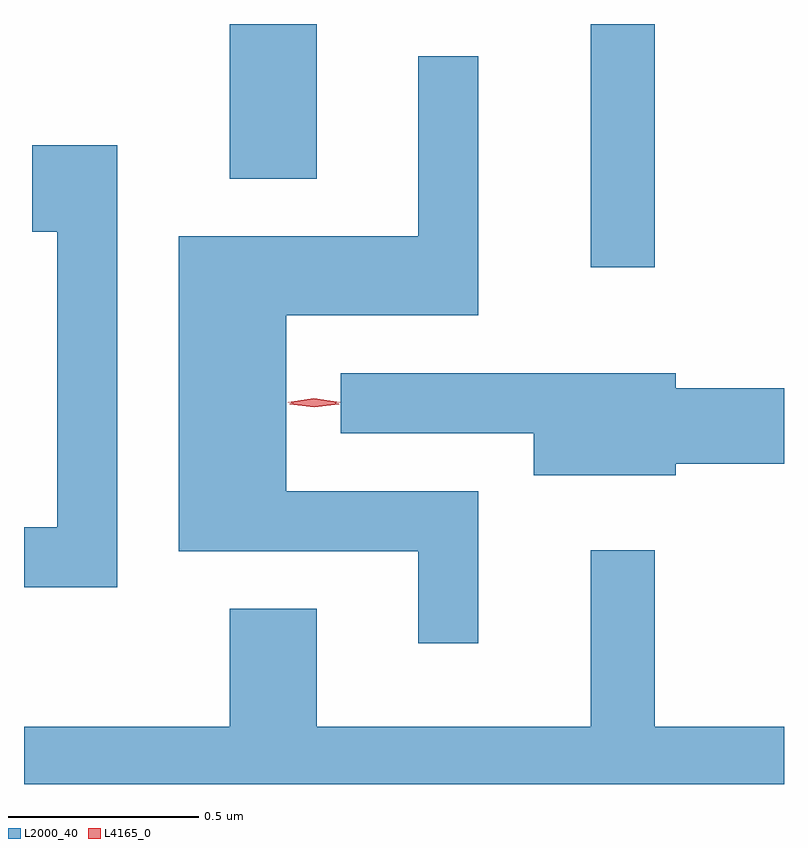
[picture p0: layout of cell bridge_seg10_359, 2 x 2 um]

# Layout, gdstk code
import gdstk
lib = gdstk.Library(unit=1e-6, precision=1e-09)
def R(c, l, rs):  # rectangles x0, y0, x1, y1
    for r in rs: c.add(gdstk.rectangle(r[:2], r[2:], *l))
def P(c, l, *ps):  # polygons
    for p in ps: c.add(gdstk.Polygon(p, *l))
L2000_40 = (2000, 40)
L4165_0 = (4165, 0)

bridge_seg10_359 = lib.new_cell('bridge_seg10_359')
R(bridge_seg10_359, L2000_40, [(1351.911,2170.893,1352.079,2171.533), (1350.961,2171.126,1351.189,2171.533)])
P(bridge_seg10_359, L2000_40, [(1351.614,2170.304),(1351.109,2170.304),(1351.109,2170.766),(1351.614,2170.766),(1351.614,2171.448),(1351.456,2171.448),(1351.456,2170.974),(1350.826,2170.974),(1350.826,2170.146),(1351.456,2170.146),(1351.456,2169.903),(1351.614,2169.903)],
  [(1350.664,2171.214),(1350.441,2171.214),(1350.441,2170.986),(1350.506,2170.986),(1350.506,2170.209),(1350.419,2170.209),(1350.419,2170.051),(1350.664,2170.051)],
  [(1352.134,2170.376),(1352.419,2170.376),(1352.419,2170.574),(1352.134,2170.574),(1352.134,2170.614),(1351.253,2170.614),(1351.253,2170.456),(1351.761,2170.456),(1351.761,2170.346),(1352.134,2170.346)],
  [(1352.419,2169.684),(1352.079,2169.684),(1352.079,2170.148),(1351.911,2170.148),(1351.911,2169.684),(1351.189,2169.684),(1351.189,2169.994),(1350.961,2169.994),(1350.961,2169.684),(1350.419,2169.684),(1350.419,2169.533),(1352.419,2169.533)])
P(bridge_seg10_359, L4165_0, [(1351.182,2170.528),(1351.113,2170.537),(1351.113,2170.538),(1351.113,2170.538),(1351.182,2170.548),(1351.251,2170.538),(1351.251,2170.537),(1351.251,2170.537)],
  [(1351.183,2170.524),(1351.118,2170.533),(1351.118,2170.533),(1351.118,2170.534),(1351.183,2170.544),(1351.247,2170.534),(1351.248,2170.533),(1351.247,2170.533)])

lib.write_gds('bridge_seg10_359.gds')
